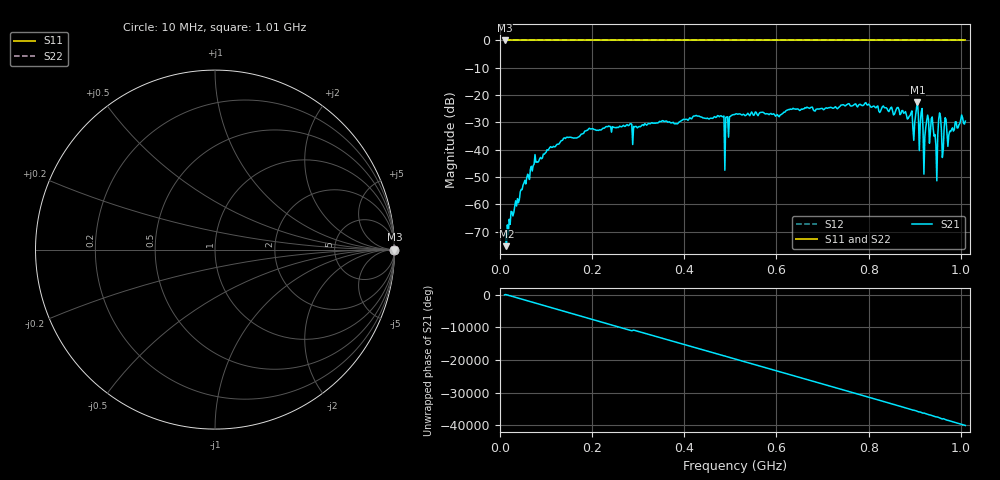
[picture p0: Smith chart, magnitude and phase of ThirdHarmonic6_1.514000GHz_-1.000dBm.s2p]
! 8/16/2025 5:50:53 PM
! C:\ANRITSUVNA\TEMP\TEMP.S2P
! CHANNEL.1
! TR.MEASUREMENT
! RAW.DATA
! RF.CORRECTION.OFF
! AVERAGING.OFF
! IF.BANDWIDTH: 5KHZ
! SWEEPTYPE:  FREQ.SWEEP(Linear)
! Reference Plane Port Info
! PORT:  PORT1  PORT2
! DISTANCE:  0  m  0  m
! TIME:  0  s  0  s
! PHASE.OFFSET:  0  deg.  0  deg.
! LOSS:  0  dB  0  dB
! REF.LOSS:  0  dB  0  dB
! REF.FREQ:  0  Hz  0  Hz
! Power Info
! POWER:  -20  dBm  -20  dBm
! EFF.POWER:  -20  dBm  -20  dBm
! SOURCE.ATTEN:  0  dB  0  dB
! TEST.ATTEN:  0  dB  0  dB
# GHZ S RI R 50.0
! FREQ.GHZ  S11RE  S11IM  S21RE  S21IM  S12RE  S12IM  S22RE  S22IM
!; PortSelection: Port_12
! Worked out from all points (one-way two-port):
!   501 points, 10 MHz to 1.01 GHz, reference 50 ohm
!   highest |S21| = -22.56 dB at 906 MHz (marker M1); lowest = -75.3 dB at 14 MHz (marker M2)
!   lowest |S11| = 0.0 dB at 10 MHz (marker M3)
!   |S11| at or under -10 dB: nowhere
!   |S22| runs from 0.0 to 0.0 dB; largest |S21 - S12| = 1.1
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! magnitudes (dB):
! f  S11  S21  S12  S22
! 10 MHz  0.0  -71.1  0.0  0.0
! 14 MHz  0.0  -75.3  0.0  0.0
! 48 MHz  0.0  -54.6  0.0  0.0
! 76 MHz  0.0  -41.8  0.0  0.0
! 178 MHz  0.0  -34.3  0.0  0.0
! 344 MHz  0.0  -30.1  0.0  0.0
! 482 MHz  0.0  -27.9  0.0  0.0
! 484 MHz  0.0  -27.9  0.0  0.0
! 492 MHz  0.0  -28.0  0.0  0.0
! 494 MHz  0.0  -27.9  0.0  0.0
! 510 MHz  0.0  -27.1  0.0  0.0
! 678 MHz  0.0  -24.4  0.0  0.0
! 844 MHz  0.0  -26.0  0.0  0.0
! 898 MHz  0.0  -36.6  0.0  0.0
! 906 MHz  0.0  -22.6  0.0  0.0
! 922 MHz  0.0  -35.1  0.0  0.0
! 926 MHz  0.0  -29.4  0.0  0.0
! 940 MHz  0.0  -32.1  0.0  0.0
! 946 MHz  0.0  -38.2  0.0  0.0
! 954 MHz  0.0  -26.5  0.0  0.0
! 962 MHz  0.0  -39.9  0.0  0.0
! 1.01 GHz  0.0  -29.5  0.0  0.0
